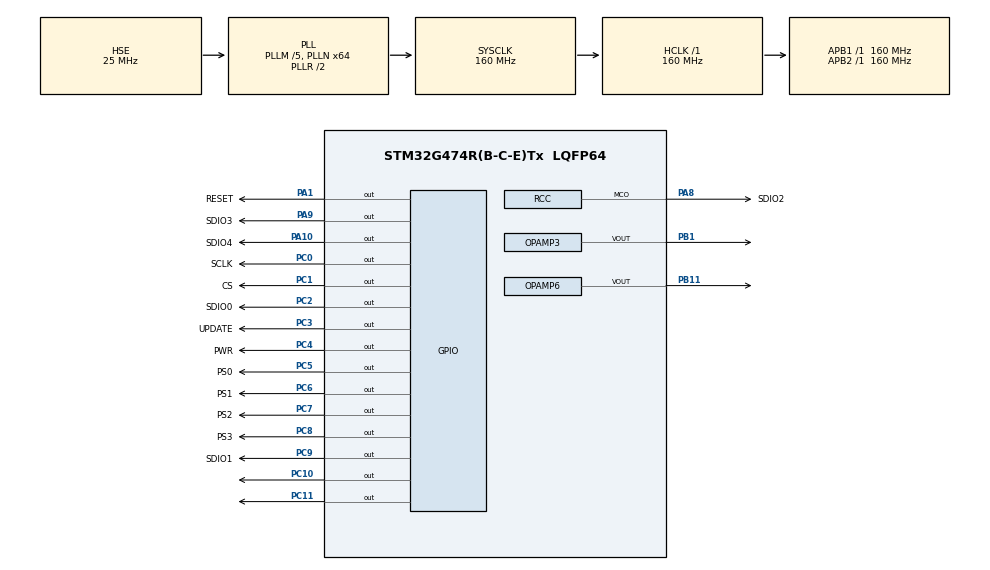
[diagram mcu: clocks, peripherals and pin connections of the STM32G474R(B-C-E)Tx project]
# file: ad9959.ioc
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DAC3.DAC_Channel-DAC_OUT2_Int=DAC_CHANNEL_2
DAC3.DAC_DMADoubleDataMode-DAC_OUT1_Int=ENABLE
DAC3.DAC_DMADoubleDataMode-DAC_OUT2_Int=ENABLE
DAC3.DAC_Trigger_OUT1-DAC_OUT1_Int=DAC_TRIGGER_T15_TRGO
DAC3.DAC_Trigger_OUT2-DAC_OUT2_Int=DAC_TRIGGER_T15_TRGO
Dma.DAC3_CH1.0.Direction=DMA_MEMORY_TO_PERIPH
Dma.DAC3_CH1.0.EventEnable=DISABLE
Dma.DAC3_CH1.0.Instance=DMA1_Channel1
Dma.DAC3_CH1.0.MemDataAlignment=DMA_MDATAALIGN_WORD
Dma.DAC3_CH1.0.MemInc=DMA_MINC_ENABLE
Dma.DAC3_CH1.0.Mode=DMA_CIRCULAR
Dma.DAC3_CH1.0.PeriphDataAlignment=DMA_PDATAALIGN_WORD
Dma.DAC3_CH1.0.PeriphInc=DMA_PINC_DISABLE
Dma.DAC3_CH1.0.Polarity=HAL_DMAMUX_REQ_GEN_RISING
Dma.DAC3_CH1.0.Priority=DMA_PRIORITY_LOW
Dma.DAC3_CH1.0.RequestNumber=1
Dma.DAC3_CH1.0.SignalID=NONE
Dma.DAC3_CH1.0.SyncEnable=DISABLE
Dma.DAC3_CH1.0.SyncPolarity=HAL_DMAMUX_SYNC_NO_EVENT
Dma.DAC3_CH1.0.SyncRequestNumber=1
Dma.DAC3_CH1.0.SyncSignalID=NONE
Dma.DAC3_CH2.1.Direction=DMA_MEMORY_TO_PERIPH
Dma.DAC3_CH2.1.EventEnable=DISABLE
Dma.DAC3_CH2.1.Instance=DMA1_Channel2
Dma.DAC3_CH2.1.MemDataAlignment=DMA_MDATAALIGN_WORD
Dma.DAC3_CH2.1.MemInc=DMA_MINC_ENABLE
Dma.DAC3_CH2.1.Mode=DMA_CIRCULAR
Dma.DAC3_CH2.1.PeriphDataAlignment=DMA_PDATAALIGN_WORD
Dma.DAC3_CH2.1.PeriphInc=DMA_PINC_DISABLE
Dma.DAC3_CH2.1.Polarity=HAL_DMAMUX_REQ_GEN_RISING
Dma.DAC3_CH2.1.Priority=DMA_PRIORITY_LOW
Dma.DAC3_CH2.1.RequestNumber=1
Dma.DAC3_CH2.1.SignalID=NONE
Dma.DAC3_CH2.1.SyncEnable=DISABLE
Dma.DAC3_CH2.1.SyncPolarity=HAL_DMAMUX_SYNC_NO_EVENT
Dma.DAC3_CH2.1.SyncRequestNumber=1
Dma.DAC3_CH2.1.SyncSignalID=NONE
Dma.Request0=DAC3_CH1
Dma.Request1=DAC3_CH2
Mcu.Family=STM32G4
Mcu.Name=STM32G474R(B-C-E)Tx
Mcu.Package=LQFP64
NVIC.PriorityGroup=NVIC_PRIORITYGROUP_4
OPAMP3.PowerMode=OPAMP_POWERMODE_HIGHSPEED
OPAMP6.PowerMode=OPAMP_POWERMODE_HIGHSPEED
PA1.GPIO_Label=RESET
PA1.GPIO_Speed=GPIO_SPEED_FREQ_HIGH
PA1.Signal=GPIO_Output
PA10.GPIO_Label=SDIO4
PA10.GPIO_Speed=GPIO_SPEED_FREQ_HIGH
PA10.PinState=GPIO_PIN_SET
PA10.Signal=GPIO_Output
PA13.Mode=Serial_Wire
PA13.Signal=SYS_JTMS-SWDIO
PA14.Mode=Serial_Wire
PA14.Signal=SYS_JTCK-SWCLK
PA8.GPIO_Label=SDIO2
PA8.Mode=Clock-out
PA8.Signal=RCC_MCO
PA9.GPIO_Label=SDIO3
PA9.GPIO_Speed=GPIO_SPEED_FREQ_HIGH
PA9.PinState=GPIO_PIN_RESET
PA9.Signal=GPIO_Output
PB1.Mode=Follower-DAC_OUT2-INP
PB1.Signal=OPAMP3_VOUT
PB11.Mode=Follower-DAC_OUT2-INP
PB11.Signal=OPAMP6_VOUT
PC0.GPIO_Label=SCLK
PC0.GPIO_Speed=GPIO_SPEED_FREQ_HIGH
PC0.Signal=GPIO_Output
PC1.GPIO_Label=CS
PC1.GPIO_Speed=GPIO_SPEED_FREQ_HIGH
PC1.Signal=GPIO_Output
PC10.GPIO_Speed=GPIO_SPEED_FREQ_HIGH
PC10.Signal=GPIO_Output
PC11.GPIO_Speed=GPIO_SPEED_FREQ_HIGH
PC11.Signal=GPIO_Output
PC2.GPIO_Label=SDIO0
PC2.GPIO_Speed=GPIO_SPEED_FREQ_HIGH
PC2.Signal=GPIO_Output
PC3.GPIO_Label=UPDATE
PC3.GPIO_Speed=GPIO_SPEED_FREQ_HIGH
PC3.Signal=GPIO_Output
PC4.GPIO_Label=PWR
PC4.GPIO_Speed=GPIO_SPEED_FREQ_HIGH
PC4.Signal=GPIO_Output
PC5.GPIO_Label=PS0
PC5.GPIO_Speed=GPIO_SPEED_FREQ_HIGH
PC5.Signal=GPIO_Output
PC6.GPIO_Label=PS1
PC6.GPIO_Speed=GPIO_SPEED_FREQ_HIGH
PC6.Signal=GPIO_Output
PC7.GPIO_Label=PS2
PC7.GPIO_Speed=GPIO_SPEED_FREQ_HIGH
PC7.Signal=GPIO_Output
PC8.GPIO_Label=PS3
PC8.GPIO_Speed=GPIO_SPEED_FREQ_HIGH
PC8.Signal=GPIO_Output
PC9.GPIO_Label=SDIO1
PC9.GPIO_Speed=GPIO_SPEED_FREQ_HIGH
PC9.Signal=GPIO_Output
PF0-OSC_IN.Mode=HSE-External-Oscillator
PF0-OSC_IN.Signal=RCC_OSC_IN
PF1-OSC_OUT.Mode=HSE-External-Oscillator
PF1-OSC_OUT.Signal=RCC_OSC_OUT
ProjectManager.HeapSize=0x200
ProjectManager.StackSize=0x400
ProjectManager.TargetToolchain=STM32CubeIDE
RCC.ADC12Freq_Value=160000000
RCC.ADC345Freq_Value=160000000
RCC.AHBFreq_Value=160000000
RCC.APB1Freq_Value=160000000
RCC.APB1TimFreq_Value=160000000
RCC.APB2Freq_Value=160000000
RCC.APB2TimFreq_Value=160000000
RCC.CortexFreq_Value=160000000
RCC.EXTERNAL_CLOCK_VALUE=12288000
RCC.HCLKFreq_Value=160000000
RCC.HSE_VALUE=25000000
RCC.HSI48_VALUE=48000000
RCC.HSI_VALUE=16000000
RCC.LSE_VALUE=32768
RCC.PLLM=RCC_PLLM_DIV5
RCC.PLLN=64
RCC.PLLSourceVirtual=RCC_PLLSOURCE_HSE
RCC.RCC_MCO1Source=RCC_MCO1SOURCE_HSE
RCC.SYSCLKFreq_VALUE=160000000
RCC.SYSCLKSource=RCC_SYSCLKSOURCE_PLLCLK
RCC.USBFreq_Value=160000000
RCC.VCOOutputFreq_Value=320000000
TIM15.PeriodNoDither=19
TIM15.TIM_MasterOutputTrigger=TIM_TRGO_UPDATE
VP_CORDIC_VS_CORDIC.Mode=CORDIC_Activate
VP_DAC3_VS_DACI1.Mode=DAC_OUT1_Int
VP_DAC3_VS_DACI2.Mode=DAC_OUT2_Int
VP_SYS_VS_DBSignals.Mode=DisableDeadBatterySignals
VP_TIM15_VS_ClockSourceINT.Mode=Internal
board=custom

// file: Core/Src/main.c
/* USER CODE BEGIN Header */
/**
  ******************************************************************************
  * @file           : main.c
  * @brief          : Main program body
  ******************************************************************************
  * @attention
  *
  * Copyright (c) 2024 STMicroelectronics.
  * All rights reserved.
  *
  * This software is licensed under terms that can be found in the LICENSE file
  * in the root directory of this software component.
  * If no LICENSE file comes with this software, it is provided AS-IS.
  *
  ******************************************************************************
  */
/* USER CODE END Header */
#include "main.h"

/* USER CODE BEGIN Includes */
#include <math.h>
/* USER CODE END Includes */

CORDIC_HandleTypeDef hcordic;

DAC_HandleTypeDef hdac3;
DMA_HandleTypeDef hdma_dac3_ch1;
DMA_HandleTypeDef hdma_dac3_ch2;

OPAMP_HandleTypeDef hopamp3;
OPAMP_HandleTypeDef hopamp6;

TIM_HandleTypeDef htim15;

void SystemClock_Config(void);
static void MX_GPIO_Init(void);
static void MX_DMA_Init(void);
static void MX_DAC3_Init(void);
static void MX_OPAMP6_Init(void);
static void MX_TIM15_Init(void);
static void MX_CORDIC_Init(void);
static void MX_OPAMP3_Init(void);
/* USER CODE BEGIN PFP */
#define SCLK_LOW HAL_GPIO_WritePin(GPIOC, 1<<0, GPIO_PIN_RESET)
#define SCLK_HIGH HAL_GPIO_WritePin(GPIOC, 1<<0, GPIO_PIN_SET)
#define CS_LOW HAL_GPIO_WritePin(GPIOC, 1<<1, GPIO_PIN_RESET)
#define CS_HIGH HAL_GPIO_WritePin(GPIOC, 1<<1, GPIO_PIN_SET)
#define SDIO0_LOW HAL_GPIO_WritePin(GPIOC, 1<<2, GPIO_PIN_RESET)
#define SDIO0_HIGH HAL_GPIO_WritePin(GPIOC, 1<<2, GPIO_PIN_SET)
#define UPDATE_LOW HAL_GPIO_WritePin(GPIOC, 1<<3, GPIO_PIN_RESET)
#define UPDATE_HIGH HAL_GPIO_WritePin(GPIOC, 1<<3, GPIO_PIN_SET)
//typedef struct {
//    // 这里假设csport是一个指向GPIO_TypeDef的指�???????????????????
//    GPIO_TypeDef* cs_port;
//    uint16_t cs_pin;
//    SPI_TypeDef * SPI_Hanlder;
//
//    // 在这里添加其他你�???????????????????要的变量
//    // 例如�???????????????????
//    // uint16_t cspin;
//} AD9959_Handler;
//
//void AD9959_Write(AD9959_Handler *device, AD9959_REG_ADDR reg_addr,  uint32_t data) //incomplete
//{
///* Determining which register is accessed */
//uint8_t instruction = WRITE_INST | (reg_addr & 0x1f);
//
//HAL_GPIO_WritePin(device->cs_port,device->cs_pin, GPIO_PIN_RESET);
//HAL_SPI_Transmit(device->SPI_Hanlder, &instruction, sizeof(instruction),10);
//
///* writing the value */
///* Finding the length of the current register to update */
//
//
//uint8_t i,transfer_data[4];
//uint8_t len = registers[reg_addr].size;
////MSB first
//i = 0;
//while(len-- >0){
//*(transfer_data + i) = (data >> len*8) & 0xFF;
//i++;
//}
//HAL_SPI_Transmit(device->SPI_Hanlder,transfer_data,i,10);
//HAL_GPIO_WritePin(device->cs_port,device->cs_pin, GPIO_PIN_SET);
//// Update device
//
////AD9959_Update(device);
//}

//uint32_t AD9959_Read(AD9959_Handler *device, AD9959_REG_ADDR reg_addr) //***ed
//{
//uint8_t read_instruction = READ_INST | (reg_addr & 0x1F);
//
//uint8_t receivdata;
//HAL_GPIO_WritePin(device->cs_port, device->cs_pin, GPIO_PIN_RESET);
//
//uint8_t len = registers[reg_addr].size;
//
//AD9959_SPI_Transfer(device, &read_instruction, sizeof(read_instruction));
//HAL_Delay(1);
//HAL_SPI_Receive(device->SPI_Handler, &receivdata, len, HAL_MAX_DELAY);
//
//
//HAL_GPIO_WritePin(device->cs_port, device->cs_pin, GPIO_PIN_SET);
//
//return receivdata;
//}
//void ad9959_send(uint8_t *data,size_t size)
//{
//	HAL_GPIO_WritePin(GPIOA, 1<<10, GPIO_PIN_RESET);
//	HAL_SPI_Transmit(&hspi3, data, size, 10);
//	HAL_GPIO_WritePin(GPIOA, 1<<10, GPIO_PIN_SET);
//
//}
//void ad9959_init(void)
//{
//	uint8_t FR1_DATA[4] = {0x01,0xD0,0x00,0x00};
//	uint8_t FR2_DATA[3] = {0x02,0x00,0x00};
//	ad9959_send(FR1_DATA, 4);
//	ad9959_send(FR2_DATA, 3);
//
//}
//void ad9959_freq(uint32_t freq , uint8_t channel)
//{
//	uint8_t data[2] = {0};
//	data[1] = channel;
//	ad9959_send(data, 2);
//	uint8_t freq_t[5] = {0};
//	freq_t[0] = 0x04;
//	uint32_t temp = freq * 4294967296 / 500000000;
//	freq_t[4] = (uint8_t)temp;
//	freq_t[3] = (uint8_t)(temp>>8);
//	freq_t[2] = (uint8_t)(temp>>16);
//	freq_t[1] = (uint8_t) (temp >>24);
//	ad9959_send(freq_t, 5);
//
//}
//void ad9959_update(void)
//{
//	HAL_GPIO_WritePin(GPIOA, 1<<9, GPIO_PIN_RESET);
//	HAL_Delay(1);
//	HAL_GPIO_WritePin(GPIOA, 1<<9, GPIO_PIN_SET);
//	HAL_Delay(2);
//	HAL_GPIO_WritePin(GPIOA, 1<<9, GPIO_PIN_RESET);
//}
void AD9959_WriteData(uint8_t RegisterAddress, uint8_t NumberofRegisters, uint8_t *RegisterData)
{
	uint8_t	ControlValue = 0;
	uint8_t	ValueToWrite = 0;
	uint8_t	RegisterIndex = 0;
	uint8_t	i = 0;

	ControlValue = RegisterAddress;
//д����?
	SCLK_LOW;
	CS_LOW;
	for(i=0; i<8; i++)
	{
		SCLK_LOW;
		if(0x80 == (ControlValue & 0x80))
		SDIO0_HIGH;
		else
			SDIO0_LOW;
		SCLK_HIGH;
		ControlValue <<= 1;
	}
	SCLK_LOW;
//д������
	for (RegisterIndex=0; RegisterIndex<NumberofRegisters; RegisterIndex++)
	{
		ValueToWrite = RegisterData[RegisterIndex];
		for (i=0; i<8; i++)
		{
			SCLK_LOW;
			if(0x80 == (ValueToWrite & 0x80))
			SDIO0_HIGH;
			else
			SDIO0_LOW;
			SCLK_HIGH;
			ValueToWrite <<= 1;
		}
		SCLK_LOW;
	}
  CS_HIGH;
}
void Write_CFTW0(uint32_t fre)
{
		uint8_t CFTW0_DATA[4] ={0x00,0x00,0x00,0x00};	//�м����????????????
	  uint32_t Temp;
	  Temp=(uint32_t)fre * 4294967296 / 500000000;
	  CFTW0_DATA[3]=(uint8_t)Temp;
	  CFTW0_DATA[2]=(uint8_t)(Temp>>8);
	  CFTW0_DATA[1]=(uint8_t)(Temp>>16);
	  CFTW0_DATA[0]=(uint8_t)(Temp>>24);
		AD9959_WriteData(0x04,4,CFTW0_DATA);//CTW0 address 0x04
}
void AD9959_Set_Fre(uint8_t Channel,uint32_t Freq)
{
		uint8_t CHANNEL[1] = {0x00};

		CHANNEL[0]=Channel;
		AD9959_WriteData(0x00,1,CHANNEL);//���ƼĴ���д��CHnͨ����ѡ��CHn
    Write_CFTW0(Freq);//���CHn�趨Ƶ��
}
void IntReset()
{
	HAL_GPIO_WritePin(GPIOA, 1<<1, GPIO_PIN_RESET);
	HAL_Delay(1);
	HAL_GPIO_WritePin(GPIOA, 1<<1, 1);
	HAL_Delay(1);
	HAL_GPIO_WritePin(GPIOA, 1<<1, 0);
}
void Intserve(void)
{
		//AD9959_PWR=0;
	HAL_GPIO_WritePin(PWR_GPIO_Port, PWR_Pin, 0);
    CS_HIGH;
    SCLK_LOW;
    UPDATE_LOW;
//    PS0 = 0;
    HAL_GPIO_WritePin(PS0_GPIO_Port, PS0_Pin, 0);
    HAL_GPIO_WritePin(PS1_GPIO_Port, PS1_Pin, 0);
    HAL_GPIO_WritePin(PS2_GPIO_Port, PS2_Pin, 0);
    HAL_GPIO_WritePin(PS3_GPIO_Port, PS3_Pin, 0);
//    PS1 = 0;
//    PS2 = 0;
//    PS3 = 0;
    SDIO0_HIGH;
    HAL_GPIO_WritePin(SDIO1_GPIO_Port, SDIO1_Pin, 0);
    HAL_GPIO_WritePin(SDIO2_GPIO_Port, SDIO2_Pin, 0);
    HAL_GPIO_WritePin(SDIO3_GPIO_Port, SDIO3_Pin, 0);
//    SDIO1 = 0;
//    SDIO2 = 0;
//    SDIO3 = 0;
}
void Write_ACR(uint16_t Ampli)
{
	uint32_t A_temp=0;
	uint8_t ACR_DATA[3] = {0x00,0x00,0x00};//default Value = 0x--0000 Rest = 18.91/Iout
  A_temp=Ampli|0x1000;

	ACR_DATA[1] = (uint8_t)(A_temp>>8); //高位数据
	ACR_DATA[2] = (uint8_t)A_temp;  //低位数据
  AD9959_WriteData(0x06,3,ACR_DATA); //ACR address 0x06.CHn设定幅度
}

void AD9959_Set_Amp(uint8_t Channel, uint16_t Ampli)
{
	uint8_t CHANNEL[1] = {0x00};

	CHANNEL[0]=Channel;
	AD9959_WriteData(0x00,1,CHANNEL); //控制寄存器写入CHn通道，�?�择CHn
	Write_ACR(Ampli);							//	CHn设定幅度
}
void Write_CPOW0(uint16_t Phase)
{
	uint8_t CPOW0_data[2] = {0x00,0x00};
	CPOW0_data[1]=(uint8_t)Phase;
	CPOW0_data[0]=(uint8_t)(Phase>>8);

	AD9959_WriteData(0x05,2,CPOW0_data);//CPOW0 address 0x05.CHn设定相位
}

void AD9959_Set_Phase(uint8_t Channel,uint16_t Phase)
{
	uint8_t CHANNEL[1] = {0x00};
	CHANNEL[0]=Channel;

	AD9959_WriteData(0x00,1,CHANNEL); //控制寄存器写入CHn通道，�?�择CHn
	Write_CPOW0(Phase);//CHn设定相位
}

void AD9959_Init(void)
{
//	GPIO_InitTypeDef  GPIO_InitStructure;
//	RCC_APB2PeriphClockCmd(RCC_APB2Periph_GPIOA|RCC_APB2Periph_GPIOB|RCC_APB2Periph_GPIOC, ENABLE);	 //PA,PB,PC端口时钟使能
//
//	GPIO_InitStructure.GPIO_Pin = GPIO_Pin_3|GPIO_Pin_4|GPIO_Pin_5|GPIO_Pin_2|GPIO_Pin_7|GPIO_Pin_6|GPIO_Pin_8|GPIO_Pin_9|GPIO_Pin_10;//初始化管脚PA2.3.4.5.6.7.8.9.10
//	GPIO_InitStructure.GPIO_Mode = GPIO_Mode_Out_PP; 		 //推挽输出
//	GPIO_InitStructure.GPIO_Speed = GPIO_Speed_50MHz;		 //IO口�?�度�???????????50MHz
//	GPIO_Init(GPIOA, &GPIO_InitStructure);					 //根据设定参数初始化GPIOA
//
//	GPIO_InitStructure.GPIO_Pin = GPIO_Pin_0|GPIO_Pin_1|GPIO_Pin_10;//初始化管脚PB0.1.10
//	GPIO_InitStructure.GPIO_Mode = GPIO_Mode_Out_PP; 		 //推挽输出
//	GPIO_InitStructure.GPIO_Speed = GPIO_Speed_2MHz;		 //IO口�?�度�???????????2MHz
//	GPIO_Init(GPIOB, &GPIO_InitStructure);					 //根据设定参数初始化GPIOB
//
//	GPIO_InitStructure.GPIO_Pin = GPIO_Pin_0;	//初始化管脚PC0
//	GPIO_InitStructure.GPIO_Mode = GPIO_Mode_Out_PP; 		 //推挽输出
//	GPIO_InitStructure.GPIO_Speed = GPIO_Speed_2MHz;		 //IO口�?�度�???????????2MHz
//	GPIO_Init(GPIOC, &GPIO_InitStructure);					 //根据设定参数初始化GPIOC
//
	Intserve();  //IO口电平状态初始化
  IntReset();  //AD9959复位

	//初始化功能寄存器
  uint8_t FR1_DATA[3] = {0xD0,0x00,0x00};//VCO gain control[23]=1系统时钟高于255Mhz; PLL[22:18]=10100,20倍频,20*25M=500MHZ; Charge pump control = 75uA

  uint8_t FR2_DATA[2] = {0x00,0x00};	// 双方向扫描，即从起始值扫到结束�?�后，又从结束�?�扫到起始�??
  AD9959_WriteData(0x01,3,FR1_DATA);//写功能寄存器1
  AD9959_WriteData(0x02,2,FR2_DATA);//
}
void IO_Update(void)
{
	UPDATE_LOW;
	HAL_Delay(1);
	UPDATE_HIGH;
	HAL_Delay(3);
	UPDATE_LOW;
}
#define offset 621
#define dac_length 4 //对应500mV，校准时可能�??要改
uint16_t scaled_sine_wave_table_Sd[dac_length];
uint16_t scaled_sine_wave_table_Sm[dac_length];
void set_dac(uint16_t modulation,uint16_t phase) {
  uint16_t max_val;
  uint16_t min_val;

  max_val=(offset*modulation/100)+offset;
  min_val=offset-(offset*modulation/100);

  float sine_wave_table[dac_length];
  float sine_wave_table_phase[dac_length];

  float step = 2 * M_PI / dac_length;

  for (int i = 0; i < dac_length; i++) {
    sine_wave_table[i] = sinf(i * step);
    sine_wave_table_phase[i] = sinf(i * step+ phase* M_PI/180.0 );

  }
  for (int i = 0; i < dac_length; i++) {
    scaled_sine_wave_table_Sd[i] = (uint16_t)((sine_wave_table[i] + 1) * (max_val - min_val) / 2 + min_val);
    scaled_sine_wave_table_Sm[i] = (uint16_t)((sine_wave_table_phase[i] + 1) * (max_val - min_val) / 2 + min_val);
  }
  HAL_DAC_Start_DMA(&hdac3, DAC_CHANNEL_1,scaled_sine_wave_table_Sd, dac_length / 2, DAC_ALIGN_12B_R);
  HAL_DAC_Start_DMA(&hdac3, DAC_CHANNEL_2,scaled_sine_wave_table_Sd, dac_length / 2, DAC_ALIGN_12B_R);

  (&htim15)->Instance->ARR = (uint32_t)(19);
 HAL_OPAMP_Start(&hopamp6);
 HAL_OPAMP_Start(&hopamp3);
 HAL_TIM_Base_Start(&htim15);
}
//void ad9959_set(uint32_t freq, uint16_t amp , uint16_t t , uint16_t phase)
//{
//	AD9959_Init();
//    AD9959_Set_Fre(0xf0, freq);
//    AD9959_Set_Amp(0xf0, amp);
//    AD9959_Set_Phase(0x10, 0);
//    float final_phase = float()
//    AD9959_Set_Phase(0x20, 0);
//    IO_Update();
//}
void dac_set( )
{

}
/* USER CODE END PFP */

int main(void)
{

  /* MCU Configuration--------------------------------------------------------*/

  /* Reset of all peripherals, Initializes the Flash interface and the Systick. */
  HAL_Init();

  /* Configure the system clock */
  SystemClock_Config();

  /* Initialize all configured peripherals */
  MX_GPIO_Init();
  MX_DMA_Init();
  MX_DAC3_Init();
  MX_OPAMP6_Init();
  MX_TIM15_Init();
  MX_CORDIC_Init();
  MX_OPAMP3_Init();
  /* USER CODE BEGIN 2 */
//  ad9959_init();
//  ad9959_freq(30000000, 0x10);
//  ad9959_update();
  uint32_t x, y;
  x = 30000000;
  AD9959_Init();
  AD9959_Set_Fre(0xf0, x);
  y = 48 * (x / 1e6) + 560;
  AD9959_Set_Amp(0xf0, 600);
  AD9959_Set_Phase(0x10, 0);
  AD9959_Set_Phase(0x20, 0);
  IO_Update();
  set_dac(30,0);
  /* USER CODE END 2 */

  /* Infinite loop */
  while (1)
  {

  }
}

void SystemClock_Config(void)
{
  RCC_OscInitTypeDef RCC_OscInitStruct = {0};
  RCC_ClkInitTypeDef RCC_ClkInitStruct = {0};

  /** Configure the main internal regulator output voltage
  */
  HAL_PWREx_ControlVoltageScaling(PWR_REGULATOR_VOLTAGE_SCALE1_BOOST);

  /** Initializes the RCC Oscillators according to the specified parameters
  * in the RCC_OscInitTypeDef structure.
  */
  RCC_OscInitStruct.OscillatorType = RCC_OSCILLATORTYPE_HSE;
  RCC_OscInitStruct.HSEState = RCC_HSE_ON;
  RCC_OscInitStruct.PLL.PLLState = RCC_PLL_ON;
  RCC_OscInitStruct.PLL.PLLSource = RCC_PLLSOURCE_HSE;
  RCC_OscInitStruct.PLL.PLLM = RCC_PLLM_DIV5;
  RCC_OscInitStruct.PLL.PLLN = 64;
  RCC_OscInitStruct.PLL.PLLP = RCC_PLLP_DIV2;
  RCC_OscInitStruct.PLL.PLLQ = RCC_PLLQ_DIV2;
  RCC_OscInitStruct.PLL.PLLR = RCC_PLLR_DIV2;
  if (HAL_RCC_OscConfig(&RCC_OscInitStruct) != HAL_OK)
  {
    Error_Handler();
  }

  /** Initializes the CPU, AHB and APB buses clocks
  */
  RCC_ClkInitStruct.ClockType = RCC_CLOCKTYPE_HCLK|RCC_CLOCKTYPE_SYSCLK
                              |RCC_CLOCKTYPE_PCLK1|RCC_CLOCKTYPE_PCLK2;
  RCC_ClkInitStruct.SYSCLKSource = RCC_SYSCLKSOURCE_PLLCLK;
  RCC_ClkInitStruct.AHBCLKDivider = RCC_SYSCLK_DIV1;
  RCC_ClkInitStruct.APB1CLKDivider = RCC_HCLK_DIV1;
  RCC_ClkInitStruct.APB2CLKDivider = RCC_HCLK_DIV1;

  if (HAL_RCC_ClockConfig(&RCC_ClkInitStruct, FLASH_LATENCY_4) != HAL_OK)
  {
    Error_Handler();
  }
  HAL_RCC_MCOConfig(RCC_MCO1, RCC_MCO1SOURCE_HSE, RCC_MCODIV_1);
}

static void MX_CORDIC_Init(void)
{

  hcordic.Instance = CORDIC;
  if (HAL_CORDIC_Init(&hcordic) != HAL_OK)
  {
    Error_Handler();
  }

}

static void MX_DAC3_Init(void)
{

  DAC_ChannelConfTypeDef sConfig = {0};

  /** DAC Initialization
  */
  hdac3.Instance = DAC3;
  if (HAL_DAC_Init(&hdac3) != HAL_OK)
  {
    Error_Handler();
  }

  /** DAC channel OUT1 config
  */
  sConfig.DAC_HighFrequency = DAC_HIGH_FREQUENCY_INTERFACE_MODE_AUTOMATIC;
  sConfig.DAC_DMADoubleDataMode = ENABLE;
  sConfig.DAC_SignedFormat = DISABLE;
  sConfig.DAC_SampleAndHold = DAC_SAMPLEANDHOLD_DISABLE;
  sConfig.DAC_Trigger = DAC_TRIGGER_T15_TRGO;
  sConfig.DAC_Trigger2 = DAC_TRIGGER_NONE;
  sConfig.DAC_OutputBuffer = DAC_OUTPUTBUFFER_DISABLE;
  sConfig.DAC_ConnectOnChipPeripheral = DAC_CHIPCONNECT_INTERNAL;
  sConfig.DAC_UserTrimming = DAC_TRIMMING_FACTORY;
  if (HAL_DAC_ConfigChannel(&hdac3, &sConfig, DAC_CHANNEL_1) != HAL_OK)
  {
    Error_Handler();
  }

  /** DAC channel OUT2 config
  */
  if (HAL_DAC_ConfigChannel(&hdac3, &sConfig, DAC_CHANNEL_2) != HAL_OK)
  {
    Error_Handler();
  }

}

static void MX_OPAMP3_Init(void)
{

  hopamp3.Instance = OPAMP3;
  hopamp3.Init.PowerMode = OPAMP_POWERMODE_HIGHSPEED;
  hopamp3.Init.Mode = OPAMP_FOLLOWER_MODE;
  hopamp3.Init.NonInvertingInput = OPAMP_NONINVERTINGINPUT_DAC;
  hopamp3.Init.InternalOutput = DISABLE;
  hopamp3.Init.TimerControlledMuxmode = OPAMP_TIMERCONTROLLEDMUXMODE_DISABLE;
  hopamp3.Init.UserTrimming = OPAMP_TRIMMING_FACTORY;
  if (HAL_OPAMP_Init(&hopamp3) != HAL_OK)
  {
    Error_Handler();
  }

}

static void MX_OPAMP6_Init(void)
{

  hopamp6.Instance = OPAMP6;
  hopamp6.Init.PowerMode = OPAMP_POWERMODE_HIGHSPEED;
  hopamp6.Init.Mode = OPAMP_FOLLOWER_MODE;
  hopamp6.Init.NonInvertingInput = OPAMP_NONINVERTINGINPUT_DAC;
  hopamp6.Init.InternalOutput = DISABLE;
  hopamp6.Init.TimerControlledMuxmode = OPAMP_TIMERCONTROLLEDMUXMODE_DISABLE;
  hopamp6.Init.UserTrimming = OPAMP_TRIMMING_FACTORY;
  if (HAL_OPAMP_Init(&hopamp6) != HAL_OK)
  {
    Error_Handler();
  }

}

static void MX_TIM15_Init(void)
{

  TIM_ClockConfigTypeDef sClockSourceConfig = {0};
  TIM_MasterConfigTypeDef sMasterConfig = {0};

  htim15.Instance = TIM15;
  htim15.Init.Prescaler = 0;
  htim15.Init.CounterMode = TIM_COUNTERMODE_UP;
  htim15.Init.Period = 19;
  htim15.Init.ClockDivision = TIM_CLOCKDIVISION_DIV1;
  htim15.Init.RepetitionCounter = 0;
  htim15.Init.AutoReloadPreload = TIM_AUTORELOAD_PRELOAD_DISABLE;
  if (HAL_TIM_Base_Init(&htim15) != HAL_OK)
  {
    Error_Handler();
  }
  sClockSourceConfig.ClockSource = TIM_CLOCKSOURCE_INTERNAL;
  if (HAL_TIM_ConfigClockSource(&htim15, &sClockSourceConfig) != HAL_OK)
  {
    Error_Handler();
  }
  sMasterConfig.MasterOutputTrigger = TIM_TRGO_UPDATE;
  sMasterConfig.MasterSlaveMode = TIM_MASTERSLAVEMODE_DISABLE;
  if (HAL_TIMEx_MasterConfigSynchronization(&htim15, &sMasterConfig) != HAL_OK)
  {
    Error_Handler();
  }

}

static void MX_DMA_Init(void)
{

  /* DMA controller clock enable */
  __HAL_RCC_DMAMUX1_CLK_ENABLE();
  __HAL_RCC_DMA1_CLK_ENABLE();

}

static void MX_GPIO_Init(void)
{
  GPIO_InitTypeDef GPIO_InitStruct = {0};

  /* GPIO Ports Clock Enable */
  __HAL_RCC_GPIOF_CLK_ENABLE();
  __HAL_RCC_GPIOC_CLK_ENABLE();
  __HAL_RCC_GPIOA_CLK_ENABLE();
  __HAL_RCC_GPIOB_CLK_ENABLE();

  /*Configure GPIO pin Output Level */
  HAL_GPIO_WritePin(GPIOC, SCLK_Pin|CS_Pin|SDIO0_Pin|UPDATE_Pin
                          |PWR_Pin|PS0_Pin|PS1_Pin|PS2_Pin
                          |PS3_Pin|SDIO1_Pin|GPIO_PIN_10|GPIO_PIN_11, GPIO_PIN_RESET);

  /*Configure GPIO pin Output Level */
  HAL_GPIO_WritePin(GPIOA, RESET_Pin|SDIO3_Pin, GPIO_PIN_RESET);

  /*Configure GPIO pin Output Level */
  HAL_GPIO_WritePin(SDIO4_GPIO_Port, SDIO4_Pin, GPIO_PIN_SET);

  /*Configure GPIO pins : SCLK_Pin CS_Pin SDIO0_Pin UPDATE_Pin
                           PWR_Pin PS0_Pin PS1_Pin PS2_Pin
                           PS3_Pin SDIO1_Pin PC10 PC11 */
  GPIO_InitStruct.Pin = SCLK_Pin|CS_Pin|SDIO0_Pin|UPDATE_Pin
                          |PWR_Pin|PS0_Pin|PS1_Pin|PS2_Pin
                          |PS3_Pin|SDIO1_Pin|GPIO_PIN_10|GPIO_PIN_11;
  GPIO_InitStruct.Mode = GPIO_MODE_OUTPUT_PP;
  GPIO_InitStruct.Pull = GPIO_NOPULL;
  GPIO_InitStruct.Speed = GPIO_SPEED_FREQ_HIGH;
  HAL_GPIO_Init(GPIOC, &GPIO_InitStruct);

  /*Configure GPIO pins : RESET_Pin SDIO3_Pin SDIO4_Pin */
  GPIO_InitStruct.Pin = RESET_Pin|SDIO3_Pin|SDIO4_Pin;
  GPIO_InitStruct.Mode = GPIO_MODE_OUTPUT_PP;
  GPIO_InitStruct.Pull = GPIO_NOPULL;
  GPIO_InitStruct.Speed = GPIO_SPEED_FREQ_HIGH;
  HAL_GPIO_Init(GPIOA, &GPIO_InitStruct);

  /*Configure GPIO pin : SDIO2_Pin */
  GPIO_InitStruct.Pin = SDIO2_Pin;
  GPIO_InitStruct.Mode = GPIO_MODE_AF_PP;
  GPIO_InitStruct.Pull = GPIO_NOPULL;
  GPIO_InitStruct.Speed = GPIO_SPEED_FREQ_LOW;
  GPIO_InitStruct.Alternate = GPIO_AF0_MCO;
  HAL_GPIO_Init(SDIO2_GPIO_Port, &GPIO_InitStruct);

}

void Error_Handler(void)
{
  __disable_irq();
  while (1)
  {
  }
}
